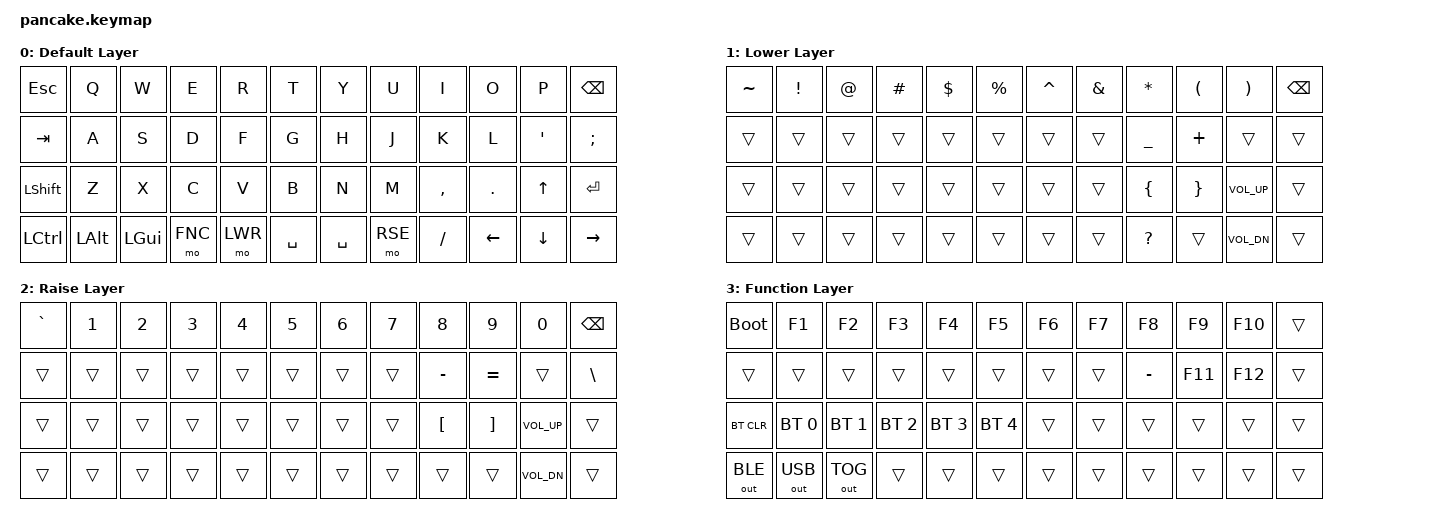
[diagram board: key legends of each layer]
/*
 * Copyright (c) 2022 The ZMK Contributors
 *
 * SPDX-License-Identifier: MIT
 */

#include <behaviors.dtsi>
#include <dt-bindings/zmk/keys.h>
#include <dt-bindings/zmk/bt.h>
#include <dt-bindings/zmk/outputs.h>

#define DEF 0
#define LWR 1
#define RSE 2
#define FNC 3

/ {
    keymap {
        compatible = "zmk,keymap";

        default_layer {
            display-name = "Default Layer";
            bindings = <
                &kp ESC     &kp Q       &kp W       &kp E       &kp R       &kp T       &kp Y       &kp U       &kp I       &kp O     &kp P       &kp BSPC
                &kp TAB     &kp A       &kp S       &kp D       &kp F       &kp G       &kp H       &kp J       &kp K       &kp L     &kp SQT     &kp SEMI
                &kp LSHFT   &kp Z       &kp X       &kp C       &kp V       &kp B       &kp N       &kp M       &kp COMMA   &kp DOT   &kp UP      &kp ENTER
                &kp LCTRL   &kp LALT    &kp LGUI    &mo FNC     &mo LWR     &kp SPACE   &kp SPACE   &mo RSE     &kp SLASH   &kp LEFT  &kp DOWN  &kp RIGHT
            >;
        };

        lower_layer {
            display-name = "Lower Layer";
            bindings = <
                &kp TILDE   &kp EXCL    &kp AT      &kp HASH    &kp DLLR    &kp PRCNT   &kp CARET   &kp AMPS    &kp STAR    &kp LPAR    &kp RPAR        &kp BSPC
                &trans      &trans      &trans      &trans      &trans      &trans      &trans      &trans      &kp UNDER   &kp PLUS    &trans          &trans
                &trans      &trans      &trans      &trans      &trans      &trans      &trans      &trans      &kp LBRC    &kp RBRC    &kp C_VOL_UP    &trans
                &trans      &trans      &trans      &trans      &trans      &trans      &trans      &trans      &kp QMARK   &trans      &kp C_VOL_DN    &trans
            >;
        };

        raise_layer {
            display-name = "Raise Layer";
            bindings = <
                &kp GRAVE   &kp N1      &kp N2      &kp N3      &kp N4      &kp N5      &kp N6      &kp N7      &kp N8      &kp N9      &kp N0          &kp BSPC
                &trans      &trans      &trans      &trans      &trans      &trans      &trans      &trans      &kp MINUS   &kp EQUAL   &trans          &kp BSLH
                &trans      &trans      &trans      &trans      &trans      &trans      &trans      &trans      &kp LBKT    &kp RBKT    &kp C_VOL_UP    &trans
                &trans      &trans      &trans      &trans      &trans      &trans      &trans      &trans      &trans      &trans      &kp C_VOL_DN    &trans
            >;
        };

        function_layer {
            display-name = "Function Layer";
            bindings = <
                &bootloader     &kp F1          &kp F2          &kp F3          &kp F4          &kp F5          &kp F6      &kp F7      &kp F8      &kp F9      &kp F10     &trans
                &trans          &trans          &trans          &trans          &trans          &trans          &trans      &trans      &kp MINUS   &kp F11     &kp F12     &trans
                &bt BT_CLR      &bt BT_SEL 0    &bt BT_SEL 1    &bt BT_SEL 2    &bt BT_SEL 3    &bt BT_SEL 4    &trans      &trans      &trans      &trans      &trans      &trans
                &out OUT_BLE    &out OUT_USB    &out OUT_TOG    &trans          &trans          &trans          &trans      &trans      &trans      &trans      &trans      &trans
            >;
        };
    };
};
